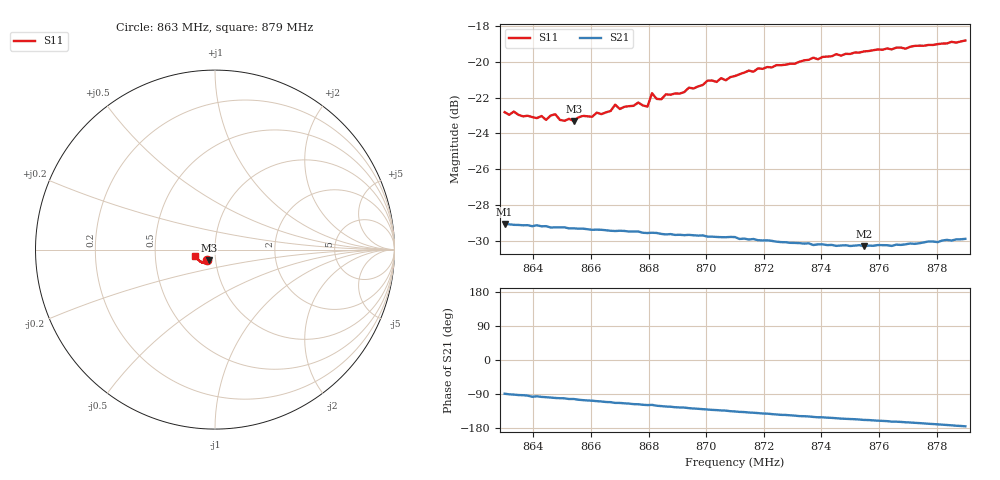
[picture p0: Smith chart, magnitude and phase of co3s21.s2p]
# HZ S RI R 50
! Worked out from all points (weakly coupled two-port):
!   101 points, 863 MHz to 879 MHz, reference 50 ohm
!   highest |S21| = -29.06 dB at 863 MHz (marker M1); lowest = -30.3 dB at 875.48 MHz (marker M2)
!   lowest |S11| = -23.3 dB at 865.4 MHz (marker M3), VSWR 1.15, Z = 46.3 - j5.48 ohm
!   |S11| at or under -10 dB: start of sweep to end of sweep
!   S12 and S22 are empty: the file has one direction only
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8.63e8  -0.0437 -0.0577  0.000636 -0.0352  0 0  0 0
8.6428e8  -0.0391 -0.0588  -0.00445 -0.0344  0 0  0 0
8.6444e8  -0.0382 -0.0573  -0.00491 -0.0344  0 0  0 0
8.6476e8  -0.0412 -0.0583  -0.00611 -0.0339  0 0  0 0
8.6492e8  -0.037 -0.0581  -0.00647 -0.0338  0 0  0 0
8.654e8  -0.0348 -0.0589  -0.00765 -0.0334  0 0  0 0
8.6572e8  -0.0358 -0.0609  -0.00937 -0.0329  0 0  0 0
8.6668e8  -0.0368 -0.063  -0.0122 -0.0314  0 0  0 0
8.6684e8  -0.04 -0.0646  -0.0133 -0.0309  0 0  0 0
8.67e8  -0.0367 -0.0641  -0.0133 -0.031  0 0  0 0
8.6764e8  -0.0381 -0.0669  -0.0151 -0.03  0 0  0 0
8.6796e8  -0.0367 -0.0654  -0.0161 -0.0291  0 0  0 0
8.6812e8  -0.0439 -0.069  -0.0158 -0.0293  0 0  0 0
8.6844e8  -0.039 -0.0683  -0.0173 -0.0281  0 0  0 0
8.686e8  -0.0397 -0.0708  -0.0179 -0.0277  0 0  0 0
8.6908e8  -0.0426 -0.0695  -0.0189 -0.0268  0 0  0 0
8.7004e8  -0.0481 -0.0744  -0.0212 -0.0246  0 0  0 0
8.71e8  -0.0531 -0.0744  -0.0232 -0.0226  0 0  0 0
8.7372e8  -0.0729 -0.0725  -0.0267 -0.0153  0 0  0 0
8.7548e8  -0.0862 -0.0635  -0.0283 -0.0114  0 0  0 0
8.7644e8  -0.0924 -0.0568  -0.0292 -0.00912  0 0  0 0
8.79e8  -0.1092 -0.0355  -0.0319 -0.00281  0 0  0 0
